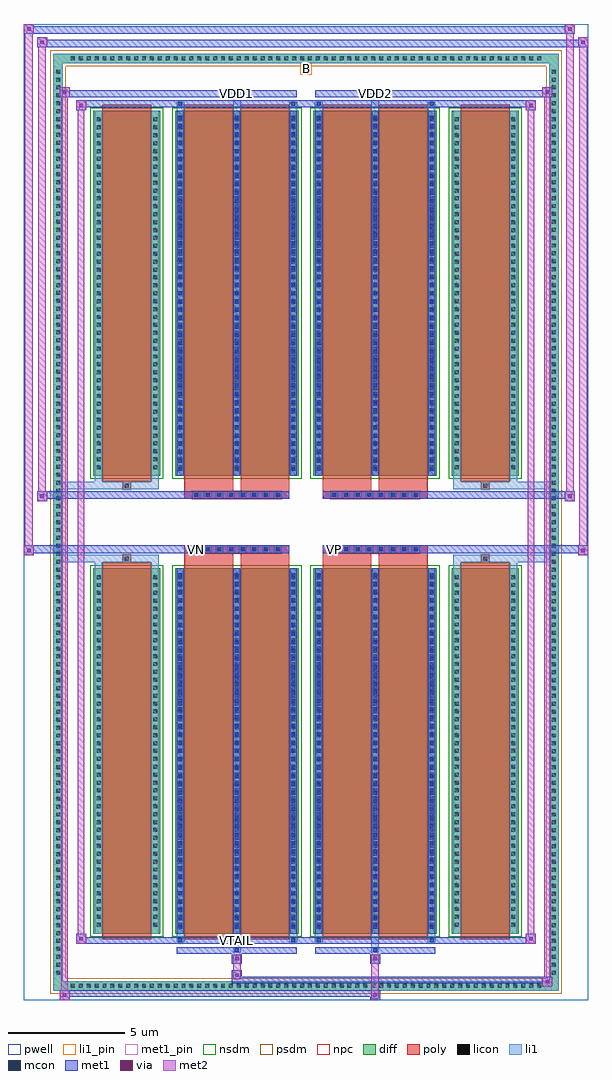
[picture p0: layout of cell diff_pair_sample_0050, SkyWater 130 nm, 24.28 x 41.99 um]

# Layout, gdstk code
import gdstk
lib = gdstk.Library(unit=1e-6, precision=5e-09)
def R(c, l, rs):  # rectangles x0, y0, x1, y1
    for r in rs: c.add(gdstk.rectangle(r[:2], r[2:], *l))
def A(c, l, x, y, w, h, nx, ny, dx, dy):  # array of equal rectangles
    R(c, l, [(x+i*dx, y+j*dy, x+i*dx+w, y+j*dy+h) for i in range(nx) for j in range(ny)])
def P(c, l, *ps):  # polygons
    for p in ps: c.add(gdstk.Polygon(p, *l))
pwell = (64, 44)
diff = (65, 20)
poly = (66, 20)
licon = (66, 44)
li1_pin = (67, 16)
li1 = (67, 20)
mcon = (67, 44)
met1_pin = (68, 16)
met1 = (68, 20)
via = (68, 44)
met2 = (69, 20)
nsdm = (93, 44)
psdm = (94, 20)
npc = (95, 20)

diff_pair_sample_0050 = lib.new_cell('diff_pair_sample_0050')
R(diff_pair_sample_0050, pwell, [(-12.14,-20.56,12.14,21.43), (-9.46,-18.75,-0.01,-0.805), (0.01,-18.75,9.46,-0.805), (-9.46,0.805,-0.01,18.75), (0.01,0.805,9.46,18.75)])
A(diff_pair_sample_0050, diff, -10.235, -20.16, 0.41, 0.41, 60, 2, 0.34, 39.91)
A(diff_pair_sample_0050, diff, -10.87, -19.585, 0.41, 0.41, 1, 115, 0, 0.34)
A(diff_pair_sample_0050, diff, 10.46, -19.585, 0.41, 0.41, 1, 115, 0, 0.34)
R(diff_pair_sample_0050, diff, [(-10.235,-20.16,10.235,-19.75), (-10.87,-19.585,-10.46,19.585), (10.46,-19.585,10.87,19.585), (-9.15,-17.705,-6.27,-1.985), (-5.63,-17.705,-0.32,-1.985), (0.32,-17.705,5.63,-1.985), (6.27,-17.705,9.15,-1.985), (-9.15,1.985,-6.27,17.705), (-5.63,1.985,-0.32,17.705), (0.32,1.985,5.63,17.705), (6.27,1.985,9.15,17.705), (-10.235,19.75,10.235,20.16)])
P(diff_pair_sample_0050, diff, [(10.87,20.16),(-10.87,20.16),(-10.87,-19.75),(-10.46,-19.75),(-10.46,19.75),(10.46,19.75),(10.46,-19.75),(-10.46,-19.75),(-10.87,-19.75),(-10.87,-20.16),(10.87,-20.16)])
A(diff_pair_sample_0050, poly, -4.89, -1.335, 0.33, 0.33, 8, 2, 0.5, 2.34)
A(diff_pair_sample_0050, poly, 1.06, -1.335, 0.33, 0.33, 8, 2, 0.5, 2.34)
R(diff_pair_sample_0050, poly, [(-8.76,-17.955,-6.66,-1.735), (-5.24,-17.955,-3.14,-1.735), (-2.81,-17.955,-0.71,-1.735), (0.71,-17.955,2.81,-1.735), (3.14,-17.955,5.24,-1.735), (6.66,-17.955,8.76,-1.735), (-7.875,-1.735,-7.545,-1.405), (-7.875,-1.735,-7.545,-1.405), (-5.24,-1.735,-3.14,-1.335), (-2.81,-1.735,-0.71,-1.335), (0.71,-1.735,2.81,-1.335), (3.14,-1.735,5.24,-1.335), (7.545,-1.735,7.875,-1.405), (7.545,-1.735,7.875,-1.405), (-5.24,-1.335,-0.71,-1.005), (0.71,-1.335,5.24,-1.005), (-5.24,1.005,-0.71,1.335), (0.71,1.005,5.24,1.335), (-5.24,1.335,-3.14,1.735), (-2.81,1.335,-0.71,1.735), (0.71,1.335,2.81,1.735), (3.14,1.335,5.24,1.735), (-7.875,1.405,-7.545,1.735), (-7.875,1.405,-7.545,1.735), (7.545,1.405,7.875,1.735), (7.545,1.405,7.875,1.735), (-8.76,1.735,-6.66,17.955), (-5.24,1.735,-3.14,17.955), (-2.81,1.735,-0.71,17.955), (0.71,1.735,2.81,17.955), (3.14,1.735,5.24,17.955), (6.66,1.735,8.76,17.955)])
A(diff_pair_sample_0050, licon, -10.115, -20.04, 0.17, 0.17, 60, 2, 0.34, 39.91)
A(diff_pair_sample_0050, licon, -10.75, -19.465, 0.17, 0.17, 1, 115, 0, 0.34)
A(diff_pair_sample_0050, licon, 10.58, -19.465, 0.17, 0.17, 1, 115, 0, 0.34)
A(diff_pair_sample_0050, licon, -9.01, -17.41, 0.17, 0.17, 1, 45, 0, 0.34)
A(diff_pair_sample_0050, licon, -6.58, -17.41, 0.17, 0.17, 1, 45, 0, 0.34)
A(diff_pair_sample_0050, licon, -5.49, -17.41, 0.17, 0.17, 3, 45, 2.43, 0.34)
A(diff_pair_sample_0050, licon, 0.46, -17.41, 0.17, 0.17, 3, 45, 2.43, 0.34)
A(diff_pair_sample_0050, licon, 6.41, -17.41, 0.17, 0.17, 1, 45, 0, 0.34)
A(diff_pair_sample_0050, licon, 8.84, -17.41, 0.17, 0.17, 1, 45, 0, 0.34)
A(diff_pair_sample_0050, licon, -4.81, -1.255, 0.17, 0.17, 8, 2, 0.5, 2.34)
A(diff_pair_sample_0050, licon, 1.14, -1.255, 0.17, 0.17, 8, 2, 0.5, 2.34)
A(diff_pair_sample_0050, licon, -9.01, 2.28, 0.17, 0.17, 1, 45, 0, 0.34)
A(diff_pair_sample_0050, licon, -6.58, 2.28, 0.17, 0.17, 1, 45, 0, 0.34)
A(diff_pair_sample_0050, licon, -5.49, 2.28, 0.17, 0.17, 3, 45, 2.43, 0.34)
A(diff_pair_sample_0050, licon, 0.46, 2.28, 0.17, 0.17, 3, 45, 2.43, 0.34)
A(diff_pair_sample_0050, licon, 6.41, 2.28, 0.17, 0.17, 1, 45, 0, 0.34)
A(diff_pair_sample_0050, licon, 8.84, 2.28, 0.17, 0.17, 1, 45, 0, 0.34)
R(diff_pair_sample_0050, licon, [(-7.795,-1.655,-7.625,-1.485), (7.625,-1.655,7.795,-1.485), (-7.795,1.485,-7.625,1.655), (7.625,1.485,7.795,1.655)])
R(diff_pair_sample_0050, li1_pin, [(-0.25,19.25,0.25,19.75)])
A(diff_pair_sample_0050, li1, -10.195, -20.12, 0.33, 0.33, 60, 2, 0.34, 39.91)
A(diff_pair_sample_0050, li1, -10.83, -19.545, 0.33, 0.33, 1, 115, 0, 0.34)
A(diff_pair_sample_0050, li1, 10.5, -19.545, 0.33, 0.33, 1, 115, 0, 0.34)
A(diff_pair_sample_0050, li1, -5.57, -17.705, 0.33, 15.72, 3, 2, 2.43, 19.69)
A(diff_pair_sample_0050, li1, 0.38, -17.705, 0.33, 15.72, 3, 2, 2.43, 19.69)
A(diff_pair_sample_0050, li1, -9.09, -17.49, 0.33, 0.33, 1, 45, 0, 0.34)
A(diff_pair_sample_0050, li1, -6.66, -17.49, 0.33, 0.33, 1, 45, 0, 0.34)
A(diff_pair_sample_0050, li1, -5.57, -17.49, 0.33, 0.33, 3, 45, 2.43, 0.34)
A(diff_pair_sample_0050, li1, -5.49, -17.49, 0.17, 0.17, 3, 43, 2.43, 0.36)
A(diff_pair_sample_0050, li1, -5.49, -17.49, 0.17, 15.29, 3, 2, 2.43, 19.69)
A(diff_pair_sample_0050, li1, 0.38, -17.49, 0.33, 0.33, 3, 45, 2.43, 0.34)
A(diff_pair_sample_0050, li1, 0.46, -17.49, 0.17, 0.17, 3, 43, 2.43, 0.36)
A(diff_pair_sample_0050, li1, 0.46, -17.49, 0.17, 15.29, 3, 2, 2.43, 19.69)
A(diff_pair_sample_0050, li1, 6.33, -17.49, 0.33, 0.33, 1, 45, 0, 0.34)
A(diff_pair_sample_0050, li1, 8.76, -17.49, 0.33, 0.33, 1, 45, 0, 0.34)
A(diff_pair_sample_0050, li1, -4.89, -1.335, 0.33, 0.33, 8, 2, 0.5, 2.34)
A(diff_pair_sample_0050, li1, 1.06, -1.335, 0.33, 0.33, 8, 2, 0.5, 2.34)
A(diff_pair_sample_0050, li1, -9.09, 2.2, 0.33, 0.33, 1, 45, 0, 0.34)
A(diff_pair_sample_0050, li1, -6.66, 2.2, 0.33, 0.33, 1, 45, 0, 0.34)
A(diff_pair_sample_0050, li1, -5.57, 2.2, 0.33, 0.33, 3, 45, 2.43, 0.34)
A(diff_pair_sample_0050, li1, -5.49, 2.2, 0.17, 0.17, 3, 43, 2.43, 0.36)
A(diff_pair_sample_0050, li1, 0.38, 2.2, 0.33, 0.33, 3, 45, 2.43, 0.34)
A(diff_pair_sample_0050, li1, 0.46, 2.2, 0.17, 0.17, 3, 43, 2.43, 0.36)
A(diff_pair_sample_0050, li1, 6.33, 2.2, 0.33, 0.33, 1, 45, 0, 0.34)
A(diff_pair_sample_0050, li1, 8.76, 2.2, 0.33, 0.33, 1, 45, 0, 0.34)
R(diff_pair_sample_0050, li1, [(-10.87,-20.16,-10.46,-19.75), (-10.87,-20.16,-10.46,-19.75), (-10.46,-20.16,10.46,-19.75), (10.46,-20.16,10.87,-19.75), (10.46,-20.16,10.87,-19.75), (-10.87,-19.75,-10.46,19.75), (10.46,-19.75,10.87,19.75), (-3.14,-18.51,-2.81,-17.705), (-3.06,-18.51,-2.89,-18.34), (2.81,-18.51,3.14,-17.705), (2.89,-18.51,3.06,-18.34), (-5.57,-18.08,-5.24,-17.705), (-5.49,-18.08,-5.32,-17.91), (-0.71,-18.08,-0.38,-17.705), (-0.63,-18.08,-0.46,-17.91), (0.38,-18.08,0.71,-17.705), (0.46,-18.08,0.63,-17.91), (5.24,-18.08,5.57,-17.705), (5.32,-18.08,5.49,-17.91), (-9.09,-17.705,-8.76,-1.985), (-6.66,-17.705,-6.33,-1.985), (6.33,-17.705,6.66,-1.985), (8.76,-17.705,9.09,-1.985), (-9.09,-1.985,-8.76,-1.405), (-6.66,-1.985,-6.33,-1.405), (6.33,-1.985,6.66,-1.405), (8.76,-1.985,9.09,-1.405), (-10.87,-1.735,-7.875,-1.405), (-9.09,-1.735,-7.875,-1.405), (-7.875,-1.735,-7.545,-1.405), (-7.545,-1.735,-6.33,-1.405), (6.33,-1.735,7.545,-1.405), (7.545,-1.735,7.875,-1.405), (7.545,-1.735,10.87,-1.405), (7.875,-1.735,9.09,-1.405), (-10.87,1.405,-7.875,1.735), (-9.09,1.405,-7.875,1.735), (-9.09,1.405,-8.76,1.985), (-7.875,1.405,-7.545,1.735), (-7.545,1.405,-6.33,1.735), (-6.66,1.405,-6.33,1.985), (6.33,1.405,7.545,1.735), (6.33,1.405,6.66,1.985), (7.545,1.405,7.875,1.735), (7.545,1.405,10.87,1.735), (7.875,1.405,9.09,1.735), (8.76,1.405,9.09,1.985), (-9.09,1.985,-8.76,17.705), (-6.66,1.985,-6.33,17.705), (6.33,1.985,6.66,17.705), (8.76,1.985,9.09,17.705), (-5.57,17.705,-5.24,18.08), (-3.14,17.705,-2.81,18.51), (-0.71,17.705,-0.38,18.08), (0.38,17.705,0.71,18.08), (2.81,17.705,3.14,18.51), (5.24,17.705,5.57,18.08), (-5.49,17.91,-5.32,18.08), (-0.63,17.91,-0.46,18.08), (0.46,17.91,0.63,18.08), (5.32,17.91,5.49,18.08), (-3.06,18.34,-2.89,18.51), (2.89,18.34,3.06,18.51), (-10.87,19.75,-10.46,20.16), (-10.87,19.75,-10.46,20.16), (-10.46,19.75,10.46,20.16), (10.46,19.75,10.87,20.16), (10.46,19.75,10.87,20.16)])
A(diff_pair_sample_0050, mcon, -5.49, -17.49, 0.17, 0.17, 3, 43, 2.43, 0.36)
A(diff_pair_sample_0050, mcon, 0.46, -17.49, 0.17, 0.17, 3, 43, 2.43, 0.36)
A(diff_pair_sample_0050, mcon, -4.81, -1.255, 0.17, 0.17, 8, 2, 0.5, 2.34)
A(diff_pair_sample_0050, mcon, 1.14, -1.255, 0.17, 0.17, 8, 2, 0.5, 2.34)
A(diff_pair_sample_0050, mcon, -5.49, 2.2, 0.17, 0.17, 3, 43, 2.43, 0.36)
A(diff_pair_sample_0050, mcon, 0.46, 2.2, 0.17, 0.17, 3, 43, 2.43, 0.36)
R(diff_pair_sample_0050, mcon, [(-3.06,-18.51,-2.89,-18.34), (2.89,-18.51,3.06,-18.34), (-5.49,-18.08,-5.32,-17.91), (-0.63,-18.08,-0.46,-17.91), (0.46,-18.08,0.63,-17.91), (5.32,-18.08,5.49,-17.91), (-5.49,17.91,-5.32,18.08), (-0.63,17.91,-0.46,18.08), (0.46,17.91,0.63,18.08), (5.32,17.91,5.49,18.08), (-3.06,18.34,-2.89,18.51), (2.89,18.34,3.06,18.51)])
R(diff_pair_sample_0050, met1_pin, [(-3.11,-18.12,-2.84,-17.85), (-4.86,-1.295,-4.59,-1.025), (1.09,-1.295,1.36,-1.025), (-3.11,18.3,-2.84,18.57), (2.84,18.3,3.11,18.57)])
A(diff_pair_sample_0050, met1, -5.55, -17.705, 0.29, 15.72, 3, 2, 2.43, 19.69)
A(diff_pair_sample_0050, met1, 0.4, -17.705, 0.29, 15.72, 3, 2, 2.43, 19.69)
A(diff_pair_sample_0050, met1, -5.55, -17.55, 0.29, 0.29, 3, 43, 2.43, 0.36)
A(diff_pair_sample_0050, met1, 0.4, -17.55, 0.29, 0.29, 3, 43, 2.43, 0.36)
A(diff_pair_sample_0050, met1, -4.87, -1.315, 0.29, 0.29, 8, 2, 0.5, 2.34)
A(diff_pair_sample_0050, met1, 1.08, -1.315, 0.29, 0.29, 8, 2, 0.5, 2.34)
A(diff_pair_sample_0050, met1, -5.55, 2.14, 0.29, 0.29, 3, 43, 2.43, 0.36)
A(diff_pair_sample_0050, met1, 0.4, 2.14, 0.29, 0.29, 3, 43, 2.43, 0.36)
R(diff_pair_sample_0050, met1, [(-10.6,-20.56,-10.17,-20.13), (2.76,-20.56,3.19,-20.13), (-10.6,-20.42,3.19,-20.13), (10.17,-19.99,10.6,-19.56), (-3.19,-19.85,10.6,-19.56), (-3.19,-19.71,-2.76,-19.28), (-3.19,-19,-2.76,-18.57), (2.76,-19,3.19,-18.57), (-5.55,-18.57,-0.4,-18.28), (-3.12,-18.57,-2.83,-18.28), (0.4,-18.57,5.55,-18.28), (2.83,-18.57,3.12,-18.28), (-9.89,-18.14,-9.46,-17.71), (-9.89,-18.14,-5.55,-17.85), (-5.55,-18.14,-5.26,-17.85), (-5.55,-18.14,-0.4,-17.85), (-0.69,-18.14,-0.4,-17.85), (-0.4,-18.14,0.4,-17.85), (0.4,-18.14,0.69,-17.85), (0.4,-18.14,5.55,-17.85), (5.26,-18.14,5.55,-17.85), (5.55,-18.14,9.89,-17.85), (9.46,-18.14,9.89,-17.71), (-12.14,-1.435,-11.71,-1.005), (11.71,-1.435,12.14,-1.005), (-12.14,-1.335,-0.71,-1.005), (-5.24,-1.335,-0.71,-1.005), (0.71,-1.335,5.24,-1.005), (0.71,-1.335,12.14,-1.005), (-11.57,0.905,-11.14,1.335), (11.14,0.905,11.57,1.335), (-11.57,1.005,-5.24,1.335), (-5.24,1.005,-0.71,1.335), (0.71,1.005,5.24,1.335), (5.24,1.005,11.57,1.335), (-9.89,17.71,-9.46,18.14), (9.46,17.71,9.89,18.14), (-9.89,17.85,-5.55,18.14), (-5.55,17.85,-5.26,18.14), (-5.55,17.85,-0.4,18.14), (-0.69,17.85,-0.4,18.14), (-0.4,17.85,0.4,18.14), (0.4,17.85,0.69,18.14), (0.4,17.85,5.55,18.14), (5.26,17.85,5.55,18.14), (5.55,17.85,9.89,18.14), (-10.6,18.28,-10.17,18.71), (-10.6,18.28,-5.55,18.57), (-5.55,18.28,-0.4,18.57), (-3.12,18.28,-2.83,18.57), (0.4,18.28,5.55,18.57), (2.83,18.28,3.12,18.57), (5.55,18.28,10.6,18.57), (10.17,18.28,10.6,18.71), (-11.57,20.43,-11.14,20.86), (-11.57,20.43,-9.46,20.76), (-9.46,20.43,9.46,20.76), (9.46,20.43,12.14,20.76), (11.71,20.43,12.14,20.86), (-12.14,21,-11.71,21.43), (-12.14,21,-9.46,21.33), (-9.46,21,9.46,21.33), (9.46,21,11.57,21.33), (11.14,21,11.57,21.43)])
R(diff_pair_sample_0050, via, [(-10.46,-20.42,-10.31,-20.27), (2.9,-20.42,3.05,-20.27), (10.31,-19.85,10.46,-19.7), (-3.05,-19.57,-2.9,-19.42), (-3.05,-18.86,-2.9,-18.71), (2.9,-18.86,3.05,-18.71), (-9.75,-18,-9.6,-17.85), (9.6,-18,9.75,-17.85), (-12,-1.295,-11.85,-1.145), (11.85,-1.295,12,-1.145), (-11.43,1.045,-11.28,1.195), (11.28,1.045,11.43,1.195), (-9.75,17.85,-9.6,18), (9.6,17.85,9.75,18), (-10.46,18.42,-10.31,18.57), (10.31,18.42,10.46,18.57), (-11.43,20.57,-11.28,20.72), (11.85,20.57,12,20.72), (-12,21.14,-11.85,21.29), (11.28,21.14,11.43,21.29)])
R(diff_pair_sample_0050, met2, [(-10.6,-20.56,-10.17,-20.13), (-10.53,-20.56,-10.24,18.71), (-10.24,-20.56,-10.17,-20.13), (-10.55,-20.51,-10.22,-20.18), (2.81,-20.51,3.14,-20.18), (2.81,-20.18,3.14,-18.95), (10.17,-19.99,10.6,-19.56), (10.24,-19.99,10.53,18.71), (10.53,-19.99,10.6,-19.56), (10.22,-19.94,10.55,-19.61), (-3.14,-19.66,-2.81,-19.33), (-3.14,-19.33,-2.81,-18.95), (-3.14,-18.95,-2.81,-18.62), (2.81,-18.95,3.14,-18.62), (-9.89,-18.14,-9.46,-17.71), (-9.82,-18.14,-9.53,18.14), (-9.53,-18.14,-9.46,-17.71), (9.46,-18.14,9.89,-17.71), (9.53,-18.14,9.82,18.14), (9.82,-18.14,9.89,-17.71), (-9.84,-18.09,-9.51,-17.76), (9.51,-18.09,9.84,-17.76), (-12.14,-1.435,-11.71,-1.005), (-12.09,-1.435,-11.76,21.43), (-11.76,-1.435,-11.71,-1.005), (11.71,-1.435,12.14,-1.005), (11.76,-1.435,12.09,20.86), (12.09,-1.435,12.14,-1.005), (-12.09,-1.385,-11.76,-1.055), (11.76,-1.385,12.09,-1.055), (-11.57,0.905,-11.14,1.335), (-11.52,0.905,-11.19,20.86), (-11.19,0.905,-11.14,1.335), (11.14,0.905,11.57,1.335), (11.19,0.905,11.52,21.43), (11.52,0.905,11.57,1.335), (-11.52,0.955,-11.19,1.285), (11.19,0.955,11.52,1.285), (-9.89,17.71,-9.46,18.14), (-9.53,17.71,-9.46,18.14), (9.46,17.71,9.89,18.14), (9.82,17.71,9.89,18.14), (-9.84,17.76,-9.51,18.09), (9.51,17.76,9.84,18.09), (-10.6,18.28,-10.17,18.71), (-10.24,18.28,-10.17,18.71), (10.17,18.28,10.6,18.71), (10.53,18.28,10.6,18.71), (-10.55,18.33,-10.22,18.66), (10.22,18.33,10.55,18.66), (-11.57,20.43,-11.14,20.86), (-11.19,20.43,-11.14,20.86), (11.71,20.43,12.14,20.86), (12.09,20.43,12.14,20.86), (-11.52,20.48,-11.19,20.81), (11.76,20.48,12.09,20.81), (-12.14,21,-11.71,21.43), (-11.76,21,-11.71,21.43), (11.14,21,11.57,21.43), (11.52,21,11.57,21.43), (-12.09,21.05,-11.76,21.38), (11.19,21.05,11.52,21.38)])
R(diff_pair_sample_0050, nsdm, [(-9.28,-17.835,-6.14,-1.855), (-5.76,-17.835,-0.19,-1.855), (0.19,-17.835,5.76,-1.855), (6.14,-17.835,9.28,-1.855), (-9.28,1.855,-6.14,17.835), (-5.76,1.855,-0.19,17.835), (0.19,1.855,5.76,17.835), (6.14,1.855,9.28,17.835)])
P(diff_pair_sample_0050, psdm, [(11,20.29),(-11,20.29),(-11,-19.62),(-10.33,-19.62),(-10.33,19.62),(10.33,19.62),(10.33,-19.62),(-10.33,-19.62),(-11,-19.62),(-11,-20.29),(11,-20.29)])
A(diff_pair_sample_0050, npc, -4.91, -1.355, 0.37, 0.37, 8, 2, 0.5, 2.34)
A(diff_pair_sample_0050, npc, 1.04, -1.355, 0.37, 0.37, 8, 2, 0.5, 2.34)
R(diff_pair_sample_0050, npc, [(-7.895,-1.755,-7.525,-1.385), (7.525,-1.755,7.895,-1.385), (-4.91,-1.355,-4.04,-0.985), (-4.91,-1.355,-4.04,-0.985), (-4.41,-1.355,-3.54,-0.985), (-4.41,-1.355,-3.54,-0.985), (-3.91,-1.355,-3.04,-0.985), (-3.91,-1.355,-3.04,-0.985), (-3.41,-1.355,-2.54,-0.985), (-3.41,-1.355,-2.54,-0.985), (-2.91,-1.355,-2.04,-0.985), (-2.91,-1.355,-2.04,-0.985), (-2.41,-1.355,-1.54,-0.985), (-2.41,-1.355,-1.54,-0.985), (-1.91,-1.355,-1.04,-0.985), (-1.91,-1.355,-1.04,-0.985), (1.04,-1.355,1.91,-0.985), (1.04,-1.355,1.91,-0.985), (1.54,-1.355,2.41,-0.985), (1.54,-1.355,2.41,-0.985), (2.04,-1.355,2.91,-0.985), (2.04,-1.355,2.91,-0.985), (2.54,-1.355,3.41,-0.985), (2.54,-1.355,3.41,-0.985), (3.04,-1.355,3.91,-0.985), (3.04,-1.355,3.91,-0.985), (3.54,-1.355,4.41,-0.985), (3.54,-1.355,4.41,-0.985), (4.04,-1.355,4.91,-0.985), (4.04,-1.355,4.91,-0.985), (-4.91,0.985,-4.04,1.355), (-4.91,0.985,-4.04,1.355), (-4.41,0.985,-3.54,1.355), (-4.41,0.985,-3.54,1.355), (-3.91,0.985,-3.04,1.355), (-3.91,0.985,-3.04,1.355), (-3.41,0.985,-2.54,1.355), (-3.41,0.985,-2.54,1.355), (-2.91,0.985,-2.04,1.355), (-2.91,0.985,-2.04,1.355), (-2.41,0.985,-1.54,1.355), (-2.41,0.985,-1.54,1.355), (-1.91,0.985,-1.04,1.355), (-1.91,0.985,-1.04,1.355), (1.04,0.985,1.91,1.355), (1.04,0.985,1.91,1.355), (1.54,0.985,2.41,1.355), (1.54,0.985,2.41,1.355), (2.04,0.985,2.91,1.355), (2.04,0.985,2.91,1.355), (2.54,0.985,3.41,1.355), (2.54,0.985,3.41,1.355), (3.04,0.985,3.91,1.355), (3.04,0.985,3.91,1.355), (3.54,0.985,4.41,1.355), (3.54,0.985,4.41,1.355), (4.04,0.985,4.91,1.355), (4.04,0.985,4.91,1.355), (-7.895,1.385,-7.525,1.755), (7.525,1.385,7.895,1.755)])
diff_pair_sample_0050.add(gdstk.Label('VTAIL', (-2.975,-17.985), layer=68, texttype=5))
diff_pair_sample_0050.add(gdstk.Label('VN', (-4.725,-1.16), layer=68, texttype=5))
diff_pair_sample_0050.add(gdstk.Label('VP', (1.225,-1.16), layer=68, texttype=5))
diff_pair_sample_0050.add(gdstk.Label('B', (0,19.5), layer=67, texttype=5))
diff_pair_sample_0050.add(gdstk.Label('VDD2', (2.975,18.435), layer=68, texttype=5))
diff_pair_sample_0050.add(gdstk.Label('VDD1', (-2.975,18.435), layer=68, texttype=5))

lib.write_gds('diff_pair_sample_0050.gds')
